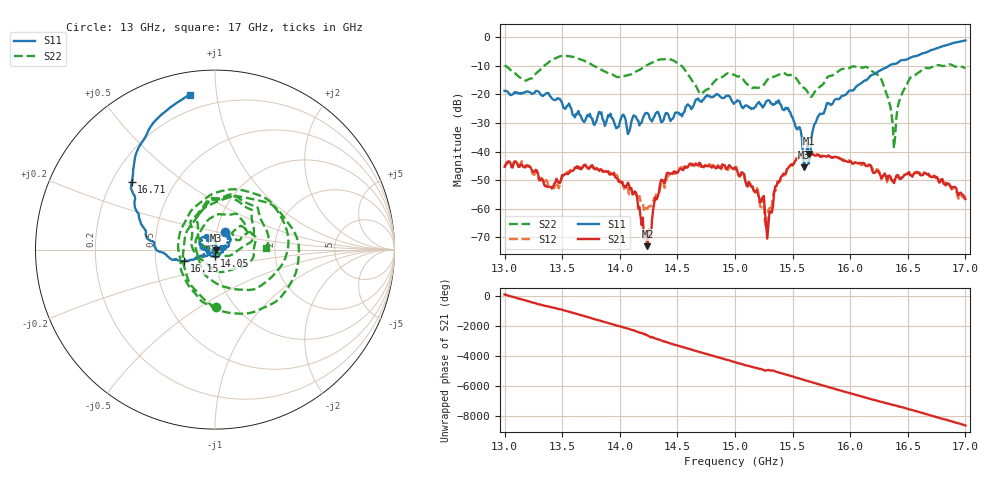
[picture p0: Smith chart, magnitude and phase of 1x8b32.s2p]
!Keysight Technologies,P9374A,MY57211807,A.19.30.04
!Date: Friday, May 08, 2026 14:26:52
!Correction: S11(C  2-Port  )
!S21(C  2-Port  )
!S12(C  2-Port  )
!S22(C  2-Port  )
!S2P File: Measurements: S11, S21, S12, S22:
# Hz S  dB  R 50
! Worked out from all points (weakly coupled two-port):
!   401 points, 13 GHz to 17 GHz, reference 50 ohm
!   highest |S21| = -40.70 dB at 15.64 GHz (marker M1); lowest = -73.1 dB at 14.24 GHz (marker M2)
!   lowest |S11| = -45.6 dB at 15.6 GHz (marker M3), VSWR 1.01, Z = 50.4 - j0.38 ohm
!   |S11| at or under -10 dB: start of sweep to 16.34 GHz
!   |S22| runs from -38.8 to -6.6 dB; largest |S21 - S12| = 0.0012
!   S11 on the Smith chart (normalised r, x): 13 GHz: 1.09, +0.22; 14.05 GHz: 0.99, -0.07; 16.15 GHz: 0.70, -0.09; 16.71 GHz: 0.28, +0.33; 17 GHz: 0.12, +0.84
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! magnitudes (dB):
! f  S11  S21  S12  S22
! 13 GHz  -18.8  -45.3  -45.7  -9.8
! 13.19 GHz  -19.0  -44.8  -44.8  -15.1
! 13.39 GHz  -20.3  -52.3  -51.9  -8.5
! 13.67 GHz  -28.6  -45.9  -46.1  -7.9
! 14.05 GHz  -28.9  -52.6  -53.6  -13.5
! 14.24 GHz  -26.6  -73.1  -60.0  -9.7
! 14.34 GHz  -26.9  -54.2  -54.7  -7.9
! 14.71 GHz  -22.6  -45.3  -45.4  -19.8
! 15 GHz  -22.9  -45.6  -45.7  -13.3
! 15.29 GHz  -22.1  -65.5  -60.5  -14.6
! 15.37 GHz  -22.9  -50.7  -50.3  -13.3
! 15.56 GHz  -31.4  -41.8  -41.6  -16.2
! 15.6 GHz  -45.6  -41.4  -41.3  -17.8
! 15.64 GHz  -44.3  -40.7  -41.2  -20.0
! 15.67 GHz  -33.3  -41.0  -40.7  -20.6
! 15.8 GHz  -23.0  -41.7  -41.8  -14.1
! 16.15 GHz  -14.7  -45.1  -45.1  -10.6
! 16.34 GHz  -10.0  -48.4  -48.7  -23.0
! 16.38 GHz  -9.4  -51.0  -50.7  -38.8
! 16.51 GHz  -7.4  -47.1  -47.4  -15.0
! 16.71 GHz  -4.5  -49.0  -49.2  -10.4
! 17 GHz  -1.2  -56.6  -56.8  -10.9
